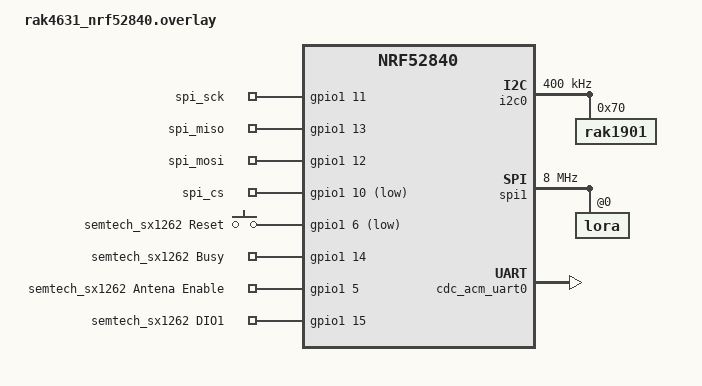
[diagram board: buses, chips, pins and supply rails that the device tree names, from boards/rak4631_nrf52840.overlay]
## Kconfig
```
#
# Copyright (c) 2023 Nordic Semiconductor ASA
#
# SPDX-License-Identifier: LicenseRef-Nordic-5-Clause
#
rsource "../../../sidewalk/samples/sid_end_device/Kconfig.defconfig"

config SIDEWALK_SPI_BUS
    default y
    imply SPI
    imply PM
    imply PM_DEVICE

config SID_END_DEVICE_TX_THREAD_STACK_SIZE
    int
    default 4096

config SID_END_DEVICE_RX_THREAD_STACK_SIZE
    int
    default 4096

config SID_END_DEVICE_NOTIFY_DATA_PERIOD_MS
    int "Notify period of sensor monitoring demo app"
    default 60000

config SID_END_DEVICE_TX_THREAD_PRIORITY
    int
    default 13

config SID_END_DEVICE_RX_THREAD_PRIORITY
    int
    default 14

config SID_END_DEVICE_TX_THREAD_QUEUE_SIZE
    int
    default 10

config SID_END_DEVICE_RX_THREAD_QUEUE_SIZE
    int
    default 4

config RAK1901_MEASUREMENT_INTERVAL
    int
    default 60000

source "Kconfig.zephyr"
```

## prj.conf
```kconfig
#
# Copyright (c) 2023 Nordic Semiconductor ASA
#
# SPDX-License-Identifier: LicenseRef-Nordic-5-Clause
#

CONFIG_STATIC_INIT_GNU=y
# Config Peripherals
CONFIG_GPIO=y
CONFIG_I2C=y
CONFIG_PWM=y
CONFIG_FLASH=y
CONFIG_SPI=y
CONFIG_NRFX_SPI1=y
CONFIG_NRFX_SPI2=y
CONFIG_FLASH_PAGE_LAYOUT=y
CONFIG_NVS=y
CONFIG_NVS_LOG_LEVEL_DBG=n
CONFIG_MPU_ALLOW_FLASH_WRITE=y

# Sidewalk
CONFIG_SIDEWALK=y
CONFIG_SMF=y
CONFIG_SIDEWALK_DFU=n
CONFIG_SIDEWALK_THREAD_PRIORITY=10
CONFIG_SIDEWALK_NRFX_SPI1=y

# Logs
CONFIG_SIDEWALK_LOG_LEVEL_INF=y

# Buttons and LEDs
CONFIG_DK_LIBRARY=y

# Bluetooth
CONFIG_BT_DEVICE_NAME="Sid demo"

# Debug
CONFIG_RESET_ON_FATAL_ERROR=n

# Shell and USB CDC console
CONFIG_USB_DEVICE_STACK=y
CONFIG_USB_DEVICE_VID=0x2FE9
CONFIG_USB_DEVICE_PRODUCT="RAK_SID"
CONFIG_USB_CDC_ACM_LOG_LEVEL_OFF=y
CONFIG_UART_LINE_CTRL=y
CONFIG_USB_CDC_ACM_RINGBUF_SIZE=512
CONFIG_SHELL_BACKEND_SERIAL_CHECK_DTR=y
CONFIG_REBOOT=y
CONFIG_SHELL=y
CONFIG_SHELL_LOG_BACKEND=y
CONFIG_SHELL_BACKEND_SERIAL_CHECK_DTR=y
CONFIG_USB_CDC_ACM_LOG_LEVEL_OFF=y


# Power Management
CONFIG_PM_DEVICE=y

# DEBUG LOG
CONFIG_SIDEWALK_LOG_LEVEL_DBG=y
#CONFIG_SIDEWALK_CRYPTO_LOG_LEVEL_DBG=y
#CONFIG_SPI_BUS_LOG_LEVEL_DBG=y
#CONFIG_SPI_LOG_LEVEL_DBG=y
#CONFIG_LOG_DEFAULT_LEVEL=4

CONFIG_RAK1901=y
```

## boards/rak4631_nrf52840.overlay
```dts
/*
 * SPDX-License-Identifier: Apache-2.0
 */

/ {
	chosen {
		zephyr,console = &cdc_acm_uart0;
		zephyr,shell-uart = &cdc_acm_uart0;
	};
};

&i2c0 {
    compatible = "nordic,nrf-twim";
	clock-frequency = <I2C_BITRATE_FAST>;
	rak1901@70 {
        compatible = "rak1901";
		reg = <0x70>;
	};
};

&spi1 {
    compatible = "nordic,nrf-spi";
    status = "okay";
};
&spi2 {
	compatible = "nordic,nrf-spi";
	status = "disabled";
};

&spi3 {
	status = "disabled";
};

&zephyr_udc0 {
	cdc_acm_uart0: cdc_acm_uart0 {
		compatible = "zephyr,cdc-acm-uart";
	};
};

sid_semtech: &spi1 {
	compatible = "nordic,nrf-spi";
	clock-frequency = <DT_FREQ_M(8)>;
	/delete-property/ cs-gpios;

	lora: lora@0 {
	    status = "okay";
	};
};

/{
	nrfx_spi_gpios{
		compatible = "gpio-keys";
		nrfx_spi_sck: sck {
			gpios = <&gpio1 11 GPIO_ACTIVE_HIGH>;
			label = "spi_sck";
		};
		nrfx_spi_miso: miso {
			gpios = <&gpio1 13 GPIO_ACTIVE_HIGH>;
			label = "spi_miso";
		};
		nrfx_spi_mosi: mosi {
			gpios = <&gpio1 12 GPIO_ACTIVE_HIGH>;
			label = "spi_mosi";
		};
		nrfx_spi_cs: cs {
			gpios = <&gpio1 10 GPIO_ACTIVE_LOW>;
			label = "spi_cs";
		};
	};

	semtech_sx1262_gpios{
		compatible = "gpio-keys";
		semtech_sx1262_reset_gpios: reset {
			gpios = <&gpio1 6 (GPIO_ACTIVE_LOW|GPIO_PULL_UP)>;
			label = "semtech_sx1262 Reset";
		};
		semtech_sx1262_busy_gpios: busy {
			gpios = <&gpio1 14 GPIO_ACTIVE_HIGH>;
			label = "semtech_sx1262 Busy";
		};
		semtech_sx1262_antenna_enable_gpios: antena_enable {
			gpios = <&gpio1 5 GPIO_ACTIVE_HIGH>;
			label = "semtech_sx1262 Antena Enable";
		};
		semtech_sx1262_dio1_gpios: dio1 {
			gpios = <&gpio1 15 (GPIO_ACTIVE_HIGH|GPIO_PULL_DOWN)>;
			label = "semtech_sx1262 DIO1";
		};
	};
};
```

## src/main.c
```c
/*
 * Copyright (c) 2023 Nordic Semiconductor ASA
 *
 * SPDX-License-Identifier: LicenseRef-Nordic-5-Clause
 */
#include <app.h>
#include <sidewalk.h>
#include <zephyr/usb/usb_device.h>
#include <zephyr/drivers/uart.h>
#include <zephyr/drivers/sensor.h>
#include <zephyr/drivers/gpio.h>
#include <sidewalk_version.h>

#include <zephyr/logging/log.h>
LOG_MODULE_REGISTER(sm_main, CONFIG_SIDEWALK_LOG_LEVEL);

#define NOTIFY_TIMER_DURATION_MS (500)
#define APP_RX_PAYLOAD_MAX_SIZE 255


static void configure_uicr(void)
{
    if ((NRF_UICR->REGOUT0 & UICR_REGOUT0_VOUT_Msk) !=
        (UICR_REGOUT0_VOUT_3V3 << UICR_REGOUT0_VOUT_Pos))
    {
        NRF_NVMC->CONFIG = NVMC_CONFIG_WEN_Wen;
        while (NRF_NVMC->READY == NVMC_READY_READY_Busy){}

        NRF_UICR->REGOUT0 = (NRF_UICR->REGOUT0 & ~((uint32_t)UICR_REGOUT0_VOUT_Msk)) |
                            (UICR_REGOUT0_VOUT_3V3 << UICR_REGOUT0_VOUT_Pos);

        NRF_NVMC->CONFIG = NVMC_CONFIG_WEN_Ren;
        while (NRF_NVMC->READY == NVMC_READY_READY_Busy){}

        LOG_INF("REGOUT0 is updated!");

        // System reset is needed to update UICR registers.
        NVIC_SystemReset();
    }
}

/*static int init_leds()
{
	int err = sm_leds_init();
	if (err) {
		LOG_ERR("Failed to initialize LEDs (err: %d)", err);
		return err;
	}
	return err;
}*/

int main(void)
{
    configure_uicr();
	int rc;
	if (IS_ENABLED(CONFIG_USB_DEVICE_STACK)) {
		rc = usb_enable(NULL);
		if (rc) {
			LOG_ERR("Failed to enable USB");
		}
	}

	PRINT_SIDEWALK_VERSION();

/*	if ((nrf_power_mainregstatus_get(NRF_POWER) ==
	     NRF_POWER_MAINREGSTATUS_HIGH))
		LOG_INF("Main regulator status: High voltage mode. Voltage supplied on VDDH.");

	if ((NRF_UICR->REGOUT0 & UICR_REGOUT0_VOUT_Msk) ==
	     (UICR_REGOUT0_VOUT_DEFAULT << UICR_REGOUT0_VOUT_Pos))
		LOG_INF("Output voltage from REG0 regulator stage: 1.8V");

	if ((NRF_UICR->REGOUT0 & UICR_REGOUT0_VOUT_Msk) ==
	     (UICR_REGOUT0_VOUT_3V0 << UICR_REGOUT0_VOUT_Pos))
		LOG_INF("Output voltage from REG0 regulator stage: 3V");*/

/*	rc = init_leds();
	if (rc) {
		LOG_INF("Buttons or LEDs faild to initialize.");
		return rc;
	}

	rc = application_pal_init();
	if (rc) {
		LOG_INF("Failed to initialize PAL layer.");
		return rc;
	}

	LOG_INF("Sidewalk demo started!");

    my_tasks_init();
	sm_task_start();*/
    app_start();

	return 0;
}
```

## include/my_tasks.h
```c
#ifndef MY_TASKS_H__
#define MY_TASKS_H__

#include "stdint.h"

/**
 * @brief This function is used to initialized RAK sidewalk task to 
 * read sensor values at specific time interval.
 */
void my_tasks_init(void);

#endif
```

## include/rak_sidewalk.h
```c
#ifndef __RAK_SIDEWALK_H
#define	__RAK_SIDEWALK_H

#include "stdint.h"

/** @brief SenoSpace payload structure. */
#pragma pack(push, 1)
typedef struct 
{
    uint8_t  payload_type;
    float  temp;
    float  hum;
} sidewalk_payload_t; //max 9 bytes
#pragma pack(pop)

/**
 * @brief This function is used to read SenoSpace payload.
 *
 * @return sidewalk_payload_t  SenoSpace payload.
 */
sidewalk_payload_t rak_sidewalk_get_payload(void);

#endif
```

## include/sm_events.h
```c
/*
 * Copyright (c) 2023 Nordic Semiconductor ASA
 *
 * SPDX-License-Identifier: LicenseRef-Nordic-5-Clause
 */

#ifndef SM_EVENTS_H
#define SM_EVENTS_H

enum event_type {
	EVENT_TYPE_SIDEWALK,
	EVENT_FACTORY_RESET,
	EVENT_BUTTON_PRESS,
	EVENT_CONNECT_LINK_TYPE_1,
	EVENT_SET_DEVICE_PROFILE_LINK_TYPE_2,
	EVENT_NOTIFICATION_TIMER_FIRED,
	EVENT_BUTTON_PRESS_TIMER_FIRED,
    EVENT_STOP_LINK,
    EVENT_START_LINK,
};

enum btn_event {
	BTN_EVENT_KEY_0 = 0,
	BTN_EVENT_KEY_1,
	BTN_EVENT_KEY_2,
	BTN_EVENT_KEY_3,
	BTN_EVENT_RESET_KEY,
};

#endif /* SM_EVENTS_H */
```

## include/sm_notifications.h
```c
/*
 * Copyright (c) 2023 Nordic Semiconductor ASA
 *
 * SPDX-License-Identifier: LicenseRef-Nordic-5-Clause
 */

#ifndef SM_NOTIFICATIONS_H
#define SM_NOTIFICATIONS_H

#include <sm_task.h>
#include "rak_sidewalk.h"
/**
 * @brief Send capability notification.
 *
 * @param app_context application context.
 */
void sm_notify_capability(app_context_t *app_context);

/**
 * @brief Send notification from sensors.
 *
 * @param app_context application context.
 * @param button_pressed flag inform is notification comes from button event.
 */
void sm_notify_sensor_data(app_context_t *app_context, bool button_pressed, sidewalk_payload_t sidewalk_payload);

/**
 * @brief Check button press notification.
 *
 * @param app_context application context.
 */
void sm_check_button_press_notify(app_context_t *app_context);

#endif /* SM_NOTIFICATIONS_H */
```

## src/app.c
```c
/*
 * Copyright (c) 2024 Nordic Semiconductor ASA
 *
 * SPDX-License-Identifier: LicenseRef-Nordic-5-Clause
 */

#include <sidewalk.h>
#include <app_tx.h>
#include <app_rx.h>
#include <app_buttons.h>
#include <app_leds.h>
#include <app_ble_config.h>
#include <sidewalk_dfu/nordic_dfu.h>
#include <app_subGHz_config.h>
#include <sid_hal_reset_ifc.h>
#include <sid_hal_memory_ifc.h>
#include <buttons.h>
#include <zephyr/kernel.h>
#include <zephyr/smf.h>
#include <zephyr/logging/log.h>
#include <sid_demo_parser.h>
#include <rak_sidewalk.h>
#include <json_printer/sidTypes2str.h>
#ifdef CONFIG_SIDEWALK_FILE_TRANSFER_DFU
#include <sbdt/dfu_file_transfer.h>
#endif

#include <bt_app_callbacks.h>

LOG_MODULE_REGISTER(app, CONFIG_SIDEWALK_LOG_LEVEL);

#define PARAM_UNUSED (0U)
#define NOTIFY_TIMER_DURATION_MS (500)

K_THREAD_STACK_DEFINE(app_tx_stack, CONFIG_SID_END_DEVICE_TX_THREAD_STACK_SIZE);
K_THREAD_STACK_DEFINE(app_rx_stack, CONFIG_SID_END_DEVICE_RX_THREAD_STACK_SIZE);

static struct k_thread app_main;
static struct k_thread app_rx;

static void notify_timer_cb(struct k_timer *timer_id);
K_TIMER_DEFINE(notify_timer, notify_timer_cb, NULL);

static void notify_timer_cb(struct k_timer *timer_id)
{
	ARG_UNUSED(timer_id);
	app_tx_event_send(APP_EVENT_NOTIFY_SENSOR);
}

static sidewalk_ctx_t sid_ctx;

static void on_sidewalk_event(bool in_isr, void *context)
{
	int err = sidewalk_event_send(sidewalk_event_process, NULL, NULL);
	if (err) {
		LOG_ERR("Send event err %d", err);
	};
}

static void on_sidewalk_msg_received(const struct sid_msg_desc *msg_desc, const struct sid_msg *msg,
				     void *context)
{
	LOG_DBG("Received message(type: %d, link_mode: %d, id: %u size %u)", (int)msg_desc->type,
		(int)msg_desc->link_mode, msg_desc->id, msg->size);
	LOG_HEXDUMP_INF((uint8_t *)msg->data, msg->size, "Received message: ");

	if (msg_desc->type == SID_MSG_TYPE_RESPONSE && msg_desc->msg_desc_attr.rx_attr.is_msg_ack) {
		LOG_DBG("Received Ack for msg id %d", msg_desc->id);
	} else {
		struct app_rx_msg rx_msg = { 0 };
		rx_msg.pld_size = MIN(msg->size, APP_RX_PAYLOAD_MAX_SIZE);
		memcpy(rx_msg.rx_payload, msg->data, rx_msg.pld_size);
		int err = app_rx_msg_received(&rx_msg);
		if (err) {
			LOG_ERR("Rx msg err %d", err);
		}
	}
}

static void on_sidewalk_msg_sent(const struct sid_msg_desc *msg_desc, void *context)
{
	LOG_DBG("sent message(type: %d, id: %u)", (int)msg_desc->type, msg_desc->id);
}

static void on_sidewalk_send_error(sid_error_t error, const struct sid_msg_desc *msg_desc,
				   void *context)
{
	LOG_ERR("Send message err %d (%s)", (int)error, SID_ERROR_T_STR(error));
	LOG_DBG("Failed to send message(type: %d, id: %u)", (int)msg_desc->type, msg_desc->id);
}

static void on_sidewalk_factory_reset(void *context)
{
	ARG_UNUSED(context);

	LOG_INF("Factory reset notification received from sid api");
	if (sid_hal_reset(SID_HAL_RESET_NORMAL)) {
		LOG_WRN("Cannot reboot");
	}
}

static void on_sidewalk_status_changed(const struct sid_status *status, void *context)
{
	struct sid_status *new_status = sid_hal_malloc(sizeof(struct sid_status));
	if (!new_status) {
		LOG_ERR("Failed to allocate memory for new status value");
	} else {
		memcpy(new_status, status, sizeof(struct sid_status));
	}
	sidewalk_event_send(sidewalk_event_new_status, new_status, sid_hal_free);

	int err = 0;
	switch (status->state) {
	case SID_STATE_READY:
	case SID_STATE_SECURE_CHANNEL_READY:
		LOG_INF("Status changed: ready");
		break;
	case SID_STATE_NOT_READY:
		LOG_INF("Status changed: not ready");
		break;
	case SID_STATE_ERROR:
		LOG_INF("Status not changed: error");
		break;
	}

	app_tx_last_link_mask_set(status->detail.link_status_mask);

	if (SID_STATUS_TIME_SYNCED == status->detail.time_sync_status) {
		err = app_tx_event_send(APP_EVENT_TIME_SYNC_SUCCESS);
	} else {
		err = app_tx_event_send(APP_EVENT_TIME_SYNC_FAIL);
	}

	if (err) {
		LOG_ERR("Send event err %d", err);
	}

	LOG_INF("Device %sregistered, Time Sync %s, Link status: {BLE: %s, FSK: %s, LoRa: %s}",
		(SID_STATUS_REGISTERED == status->detail.registration_status) ? "Is " : "Un",
		(SID_STATUS_TIME_SYNCED == status->detail.time_sync_status) ? "Success" : "Fail",
		(status->detail.link_status_mask & SID_LINK_TYPE_1) ? "Up" : "Down",
		(status->detail.link_status_mask & SID_LINK_TYPE_2) ? "Up" : "Down",
		(status->detail.link_status_mask & SID_LINK_TYPE_3) ? "Up" : "Down");

	for (int i = 0; i < SID_LINK_TYPE_MAX_IDX; i++) {
		enum sid_link_mode mode =
			(enum sid_link_mode)status->detail.supported_link_modes[i];

		if (mode) {
			LOG_INF("Link mode on %s = {Cloud: %s, Mobile: %s}",
				(SID_LINK_TYPE_1_IDX == i) ? "BLE" :
				(SID_LINK_TYPE_2_IDX == i) ? "FSK" :
				(SID_LINK_TYPE_3_IDX == i) ? "LoRa" :
							     "unknow",
				(mode & SID_LINK_MODE_CLOUD) ? "True" : "False",
				(mode & SID_LINK_MODE_MOBILE) ? "True" : "False");
		}
	}
}


void app_start_tasks(void)
{
	(void)k_thread_create(&app_main, app_tx_stack, K_THREAD_STACK_SIZEOF(app_tx_stack),
			      app_tx_task, NULL, NULL, NULL,
			      CONFIG_SID_END_DEVICE_TX_THREAD_PRIORITY, 0, K_NO_WAIT);

	(void)k_thread_create(&app_rx, app_rx_stack, K_THREAD_STACK_SIZEOF(app_rx_stack),
			      app_rx_task, NULL, NULL, NULL,
			      CONFIG_SID_END_DEVICE_RX_THREAD_PRIORITY, 0, K_NO_WAIT);

	k_thread_name_set(&app_main, "app_main");
	k_thread_name_set(&app_rx, "app_rx");
}

static bool gatt_authorize(struct bt_conn *conn, const struct bt_gatt_attr *attr)
{
	struct bt_conn_info cinfo = {};
	int ret = bt_conn_get_info(conn, &cinfo);
	if (ret != 0) {
		LOG_ERR("Failed to get id of connection err %d", ret);
		return false;
	}

	if (cinfo.id == BT_ID_SIDEWALK) {
		if (sid_ble_bt_attr_is_SMP(attr)) {
			return false;
		}
	}

#if defined(CONFIG_SIDEWALK_DFU)
	if (cinfo.id == BT_ID_SMP_DFU) {
		if (sid_ble_bt_attr_is_SIDEWALK(attr)) {
			return false;
		}
	}
#endif //defined(CONFIG_SIDEWALK_DFU)
	return true;
}

static const struct bt_gatt_authorization_cb gatt_authorization_callbacks = {
	.read_authorize = gatt_authorize,
	.write_authorize = gatt_authorize,
};

void app_start(void)
{

	if (app_led_init()) {
		LOG_ERR("Cannot init leds");
	}

	static struct sid_event_callbacks event_callbacks = {
		.context = &sid_ctx,
		.on_event = on_sidewalk_event,
		.on_msg_received = on_sidewalk_msg_received,
		.on_msg_sent = on_sidewalk_msg_sent,
		.on_send_error = on_sidewalk_send_error,
		.on_status_changed = on_sidewalk_status_changed,
		.on_factory_reset = on_sidewalk_factory_reset,
	};

	struct sid_end_device_characteristics dev_ch = {
		.type = SID_END_DEVICE_TYPE_STATIC,
		.power_type = SID_END_DEVICE_POWERED_BY_BATTERY_AND_LINE_POWER,
		.qualification_id = 0x0001,
	};

	sid_ctx.config = (struct sid_config){
		.link_mask = 0,
		.dev_ch = dev_ch,
		.callbacks = &event_callbacks,
		.link_config = app_get_ble_config(),
		.sub_ghz_link_config = app_get_sub_ghz_config(),
	};

	int err = bt_gatt_authorization_cb_register(&gatt_authorization_callbacks);
	if (err) {
		LOG_ERR("Registering GATT authorization callbacks failed (err %d)", err);
		return;
	}

	app_start_tasks();
	sidewalk_start(&sid_ctx);
	sidewalk_event_send(sidewalk_event_platform_init, NULL, NULL);
	sidewalk_event_send(sidewalk_event_autostart, NULL, NULL);

	k_timer_start(&notify_timer, K_MSEC(NOTIFY_TIMER_DURATION_MS),
		      K_MSEC(CONFIG_SID_END_DEVICE_NOTIFY_DATA_PERIOD_MS));
}
```

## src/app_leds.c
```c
/*
 * Copyright (c) 2024 Nordic Semiconductor ASA
 *
 * SPDX-License-Identifier: LicenseRef-Nordic-5-Clause
 */

#include <app_leds.h>
#include <dk_buttons_and_leds.h>

static int leds_state;
static uint8_t led_id_arr[APP_LEDS_MAX];

void app_led_turn_on_all(void)
{
	dk_set_leds(DK_ALL_LEDS_MSK);
	leds_state = DK_ALL_LEDS_MSK;
}

void app_led_turn_off_all(void)
{
	dk_set_leds(DK_NO_LEDS_MSK);
	leds_state = DK_NO_LEDS_MSK;
}

void app_led_turn_on(enum leds_id_t id)
{
	if (id < LED_ID_LAST) {
		dk_set_led_on(id);
		WRITE_BIT(leds_state, id, true);
	}
}

void app_led_turn_off(enum leds_id_t id)
{
	if (id < LED_ID_LAST) {
		dk_set_led_off(id);
		WRITE_BIT(leds_state, id, false);
	}
}

bool app_led_is_on(enum leds_id_t id)
{
	if (id < LED_ID_LAST) {
		return (leds_state & BIT(id));
	}
	return false;
}

uint8_t *app_led_id_array_get()
{
	return led_id_arr;
}

int app_led_init()
{
	for (size_t i = 0; i < APP_LEDS_MAX; i++) {
		led_id_arr[i] = i;
	}
	return dk_leds_init();
}
```

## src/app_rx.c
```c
/*
 * Copyright (c) 2024 Nordic Semiconductor ASA
 *
 * SPDX-License-Identifier: LicenseRef-Nordic-5-Clause
 */

#include <app_rx.h>
#include <app_tx.h>
#include <app_buttons.h>
#include <app_leds.h>
#include <sid_demo_parser.h>
#include <zephyr/kernel.h>
#include <zephyr/logging/log.h>

LOG_MODULE_REGISTER(app_rx, CONFIG_SIDEWALK_LOG_LEVEL);

#define ACTION_RESP_BTN_ALL (0xFF)
#define ACTION_REQ_LED_ALL (0xFF)

K_MSGQ_DEFINE(rx_msgq, sizeof(struct app_rx_msg), CONFIG_SID_END_DEVICE_RX_THREAD_QUEUE_SIZE, 4);

static void app_rx_led_req_process(struct sid_demo_msg *msg)
{
	// Deserialize message
	uint8_t led_id_arr[APP_LEDS_MAX] = { 0 };
	struct sid_demo_led_action_req led_req = { 0 };
	led_req.led_id_arr = led_id_arr;

	static struct sid_parse_state state = { 0 };
	sid_parse_state_init(&state, msg->payload, msg->payload_size);
	sid_demo_app_action_req_deserialize(&state, &led_req);
	if (state.ret_code != SID_ERROR_NONE) {
		LOG_ERR("LED request de-serialize failed %d", state.ret_code);
		return;
	}

	// Process action request
	LOG_INF("LED request received");
	if (led_req.num_leds == ACTION_REQ_LED_ALL) {
		led_req.led_id_arr = app_led_id_array_get();
		led_req.num_leds = APP_LEDS_MAX;
	}

	if (led_req.action_req == SID_DEMO_ACTION_LED_ON) {
		for (uint8_t i = 0; i < led_req.num_leds; i++) {
			app_led_turn_on((enum leds_id_t)led_req.led_id_arr[i]);
		}
		app_tx_event_send(APP_EVENT_RESP_LED_ON);
	} else if (led_req.action_req == SID_DEMO_ACTION_LED_OFF) {
		for (uint8_t i = 0; i < led_req.num_leds; i++) {
			app_led_turn_off((enum leds_id_t)led_req.led_id_arr[i]);
		}
		app_tx_event_send(APP_EVENT_RESP_LED_OFF);
	} else {
		LOG_ERR("LED request invalid action %d", led_req.action_req);
	}
}

int app_rx_msg_received(struct app_rx_msg *msg)
{
	return k_msgq_put(&rx_msgq, msg, K_NO_WAIT);
}

void app_rx_task(void *dummy1, void *dummy2, void *dummy3)
{
	ARG_UNUSED(dummy1);
	ARG_UNUSED(dummy2);
	ARG_UNUSED(dummy3);

	while (1) {
		struct app_rx_msg rx_msg = { 0 };
		int err = k_msgq_get(&rx_msgq, &rx_msg, K_FOREVER);
		if (!err) {
			// Deserialize message
			static uint8_t msg_payload[APP_RX_PAYLOAD_MAX_SIZE] = { 0 };
			struct sid_demo_msg msg = { 0 };
			msg.payload = msg_payload;
			struct sid_demo_msg_desc msg_desc = { 0 };

			static struct sid_parse_state state = { 0 };
			sid_parse_state_init(&state, rx_msg.rx_payload, rx_msg.pld_size);
			sid_demo_app_msg_deserialize(&state, &msg_desc, &msg);
			if (!state.ret_code) {
				LOG_DBG("Opc %d, class %d cmd %d status indicator %d status_code %d paylaod size %d",
					msg_desc.opc, msg_desc.cmd_class, msg_desc.cmd_id,
					msg_desc.status_hdr_ind, msg_desc.status_code,
					msg.payload_size);
			} else {
				LOG_ERR("Rx msg de-serialize failed %d", state.ret_code);
				continue;
			}

			// Process demo app message
			if (msg_desc.cmd_class != SID_DEMO_APP_CLASS) {
				LOG_ERR("Rx msg cmd class %d not supported", msg_desc.cmd_class);
				continue;
			}

			switch (msg_desc.opc) {
			case SID_DEMO_MSG_TYPE_RESP:
				switch (msg_desc.cmd_id) {
				case SID_DEMO_APP_CLASS_CMD_CAP_DISCOVERY_ID:
					if (msg_desc.status_hdr_ind &&
					    msg_desc.status_code == SID_ERROR_NONE &&
					    msg.payload_size == 0) {
						LOG_INF("Capability response received");
						app_tx_event_send(APP_EVENT_CAPABILITY_SUCCESS);
					} else {
						LOG_ERR("Capability failed (code %d)",
							msg_desc.status_code);
					}
					break;
				case SID_DEMO_APP_CLASS_CMD_ACTION:
					break;
				default:
					LOG_ERR("Rx msg cmd id %d not supported", msg_desc.cmd_id);
					break;
				}
				break;
			case SID_DEMO_MSG_TYPE_WRITE:
				switch (msg_desc.cmd_id) {
				case SID_DEMO_APP_CLASS_CMD_ACTION:
					app_rx_led_req_process(&msg);
					break;
				case SID_DEMO_APP_CLASS_CMD_CAP_DISCOVERY_ID:
				default:
					LOG_ERR("Rx msg cmd id %d not supported", msg_desc.cmd_id);
					break;
				}
				break;
			case SID_DEMO_MSG_TYPE_READ:
			case SID_DEMO_MSG_TYPE_NOTIFY:
			default:
				LOG_ERR("Rx msg op code %d not supported", msg_desc.opc);
				break;
			}
		} else {
			LOG_ERR("App RX msgq err %d", err);
		}
	}

	LOG_ERR("App RX thread ends. You should never see this message.");
}
```

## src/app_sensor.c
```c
/*
 * Copyright (c) 2024 Nordic Semiconductor ASA
 *
 * SPDX-License-Identifier: LicenseRef-Nordic-5-Clause
 */
#include <app_sensor.h>
#include <errno.h>
#include <zephyr/drivers/sensor.h>
#include <zephyr/device.h>

#ifdef CONFIG_BOARD_THINGY53_NRF5340_CPUAPP
#define TEMP_CHANNEL SENSOR_CHAN_AMBIENT_TEMP
static const struct device *temp_dev = DEVICE_DT_GET_ONE(bosch_bme680);
#elif CONFIG_TEMP_NRF5
#define TEMP_CHANNEL SENSOR_CHAN_DIE_TEMP
static const struct device *temp_dev = DEVICE_DT_GET_ONE(nordic_nrf_temp);
#else
#define TEMP_CHANNEL SENSOR_CHAN_ALL
static const struct device *temp_dev;
#endif

int app_sensor_temperature_get(int16_t *temp)
{
	if (!temp) {
		return -EINVAL;
	};

	if (!device_is_ready(temp_dev)) {
		return -EIO;
	}

	int err = sensor_sample_fetch(temp_dev);
	if (err) {
		return -EIO;
	}

	struct sensor_value sensor = { 0, 0 };
	err = sensor_channel_get(temp_dev, TEMP_CHANNEL, &sensor);
	if (err) {
		return -EFAULT;
	}

	*temp = (int16_t)sensor.val1;
	return 0;
}
```

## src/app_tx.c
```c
/*
 * Copyright (c) 2024 Nordic Semiconductor ASA
 *
 * SPDX-License-Identifier: LicenseRef-Nordic-5-Clause
 */

#include <app_tx.h>
#include <app_buttons.h>
#include <app_leds.h>
#include <app_sensor.h>
#include <sidewalk.h>
#include <sid_demo_parser.h>
#include <sid_pal_uptime_ifc.h>
#include <sid_hal_memory_ifc.h>
#include <zephyr/kernel.h>
#include <zephyr/smf.h>
#include <zephyr/logging/log.h>
#include <json_printer/sidTypes2str.h>
#include <rak_sidewalk.h>

LOG_MODULE_REGISTER(app_tx, CONFIG_SIDEWALK_LOG_LEVEL);

#define MSG_PAYLOAD_SIZE_MAX (32)
#define DEMO_MSG_PAYLOAD_MAX_SIXE (255)
#define APP_SID_MSG_TTL_MAX (60)
#define APP_SID_MSG_RETRIES_MAX (3)
#define APP_NOTIFY_BUTTON_PERIOD_MS (1000)
#define APP_DUMMY_SENSOR_DATA (20)

typedef struct app_sm_s {
	struct smf_ctx ctx;
	struct k_msgq msgq;
	app_event_t event;
} app_sm_t;

static app_sm_t app_sm;
static uint32_t last_link_mask;

enum state {
	STATE_APP_INIT,
	STATE_APP_NOTIFY_CAPABILITY,
	STATE_APP_NOTIFY_DATA,
};

static void state_init(void *o);
static void state_notify_capability(void *o);
static void state_notify_data(void *o);

static const struct smf_state app_states[] = {
	[STATE_APP_INIT] = SMF_CREATE_STATE(NULL, state_init, NULL, NULL, NULL),
	[STATE_APP_NOTIFY_CAPABILITY] =
		SMF_CREATE_STATE(NULL, state_notify_capability, NULL, NULL, NULL),
	[STATE_APP_NOTIFY_DATA] = SMF_CREATE_STATE(NULL, state_notify_data, NULL, NULL, NULL),
};

static uint8_t __aligned(4)
	app_msgq_buff[CONFIG_SID_END_DEVICE_TX_THREAD_QUEUE_SIZE * sizeof(app_event_t)];


static uint32_t time_in_sec_get(void)
{
	struct sid_timespec curr_time = { 0 };
	sid_error_t e = sid_pal_uptime_now(&curr_time);
	if (e) {
		LOG_INF("Uptime get failed %d (%s)", e, SID_ERROR_T_STR(e));
	}

	return curr_time.tv_sec;
}

static uint32_t last_link_mask_get(void)
{
	return last_link_mask;
}

static void free_sid_msg_event_ctx(void *ctx)
{
	sidewalk_msg_t *sid_msg = (sidewalk_msg_t *)ctx;
	if (sid_msg == NULL) {
		return;
	}
	if (sid_msg->msg.data) {
		sid_hal_free(sid_msg->msg.data);
	}
	sid_hal_free(sid_msg);
}

static int app_tx_demo_msg_send(struct sid_parse_state *state, uint8_t *buffer,
				struct sid_demo_msg_desc *demo_desc, struct sid_msg_desc *sid_desc)
{
	// Serialize demo message
	struct sid_demo_msg demo_msg = { .payload = buffer, .payload_size = state->offset };
	uint8_t msg_buffer[DEMO_MSG_PAYLOAD_MAX_SIXE] = { 0 };
	sid_parse_state_init(state, msg_buffer, sizeof(msg_buffer));
	sid_demo_app_msg_serialize(state, demo_desc, &demo_msg);
	if (state->ret_code != SID_ERROR_NONE) {
		LOG_DBG("Demo msg serialize failed -%d (%s)", state->ret_code,
			SID_ERROR_T_STR(state->ret_code));
		return -EINVAL;
	}

	// Send sidewalk message
	sidewalk_msg_t *sid_msg = sid_hal_malloc(sizeof(sidewalk_msg_t));
	if (!sid_msg) {
		LOG_ERR("Failed to alloc memory for message context");
		return -ENOMEM;
	}
	memset(sid_msg, 0x0, sizeof(*sid_msg));
	sid_msg->msg.size = state->offset;
	sid_msg->msg.data = sid_hal_malloc(sid_msg->msg.size);
	if (!sid_msg->msg.data) {
		sid_hal_free(sid_msg);
		LOG_ERR("Failed to allocate memory for message data");
		return -ENOMEM;
	}
	memcpy(sid_msg->msg.data, msg_buffer, sid_msg->msg.size);
	memcpy(&sid_msg->desc, sid_desc, sizeof(struct sid_msg_desc));

	int err = sidewalk_event_send(sidewalk_event_send_msg, sid_msg, free_sid_msg_event_ctx);
	if (err) {
		free_sid_msg_event_ctx(sid_msg);
		LOG_ERR("Event send err %d", err);
		return -EIO;
	};

	return 0;
}

static int app_tx_response_send(struct sid_demo_action_resp *resp)
{
	// Prepare message
	struct sid_demo_msg_desc resp_desc = {
		.status_hdr_ind = true,
		.opc = SID_DEMO_MSG_TYPE_RESP,
		.cmd_class = SID_DEMO_APP_CLASS,
		.cmd_id = SID_DEMO_APP_CLASS_CMD_ACTION,
		.status_code = SID_ERROR_NONE,
	};

	struct sid_msg_desc resp_sid_desc = { .link_type = last_link_mask_get(),
					      .type = SID_MSG_TYPE_NOTIFY,
					      .link_mode = SID_LINK_MODE_CLOUD,
					      .msg_desc_attr = {
						      .tx_attr = {
							      .ttl_in_seconds = APP_SID_MSG_TTL_MAX,
							      .num_retries =
								      APP_SID_MSG_RETRIES_MAX,
							      .request_ack = true,
						      } } };

	// Serialize and send
	struct sid_parse_state state = { 0 };
	uint8_t msg_buffer[MSG_PAYLOAD_SIZE_MAX] = { 0 };
	sid_parse_state_init(&state, msg_buffer, sizeof(msg_buffer));
	sid_demo_app_action_resp_serialize(&state, resp);
	if (state.ret_code != SID_ERROR_NONE) {
		LOG_DBG("Action response serialize failed -%d", state.ret_code);
		return -EINVAL;
	}

	return app_tx_demo_msg_send(&state, msg_buffer, &resp_desc, &resp_sid_desc);
}

static void state_init(void *o)
{
	app_sm_t *sm = (app_sm_t *)o;

	switch (sm->event) {
	case APP_EVENT_TIME_SYNC_SUCCESS:
		smf_set_state(SMF_CTX(sm), &app_states[STATE_APP_NOTIFY_CAPABILITY]);
		break;
	case APP_EVENT_CAPABILITY_SUCCESS:
	case APP_EVENT_TIME_SYNC_FAIL:
	case APP_EVENT_NOTIFY_BUTTON:
	case APP_EVENT_NOTIFY_SENSOR:
	case APP_EVENT_RESP_LED_ON:
	case APP_EVENT_RESP_LED_OFF:
		break;
	}
}

static void state_notify_capability(void *o)
{
	app_sm_t *sm = (app_sm_t *)o;

	switch (sm->event) {
	case APP_EVENT_NOTIFY_SENSOR: {
		// Prepare message
		struct sid_demo_capability_discovery cap = {
			.link_type = last_link_mask_get(),
			.temp_sensor = SID_DEMO_TEMPERATURE_SENSOR_UNITS_CELSIUS,
			.num_buttons = APP_BUTTONS_MAX,
			.led_id_arr = app_led_id_array_get(),
			.num_leds = APP_LEDS_MAX,
		};

		struct sid_demo_msg_desc cap_desc = {
			.status_hdr_ind = false,
			.opc = SID_DEMO_MSG_TYPE_NOTIFY,
			.cmd_class = SID_DEMO_APP_CLASS,
			.cmd_id = SID_DEMO_APP_CLASS_CMD_CAP_DISCOVERY_ID,
		};

		struct sid_msg_desc cap_sid_desc = {
			.link_type = last_link_mask_get(),
			.type = SID_MSG_TYPE_NOTIFY,
			.link_mode = SID_LINK_MODE_CLOUD,
		};

		// Serialize and send
		struct sid_parse_state state = { 0 };
		uint8_t msg_buffer[MSG_PAYLOAD_SIZE_MAX] = { 0 };
		sid_parse_state_init(&state, msg_buffer, sizeof(msg_buffer));
		sid_demo_app_capability_discovery_notification_serialize(&state, &cap);
		if (state.ret_code != SID_ERROR_NONE) {
			LOG_ERR("Capability serialize failed %d", state.ret_code);
			break;
		}

		int err = app_tx_demo_msg_send(&state, msg_buffer, &cap_desc, &cap_sid_desc);
		if (err) {
			LOG_ERR("Capability send failed %d", err);
		}

		LOG_INF("Capability send");
	} break;
	case APP_EVENT_CAPABILITY_SUCCESS:
		smf_set_state(SMF_CTX(sm), &app_states[STATE_APP_NOTIFY_DATA]);
		break;
	case APP_EVENT_NOTIFY_BUTTON:
	case APP_EVENT_RESP_LED_ON:
	case APP_EVENT_RESP_LED_OFF:
		LOG_WRN("Operation not supported, waiting for capability response.");
		break;
	case APP_EVENT_TIME_SYNC_SUCCESS:
	case APP_EVENT_TIME_SYNC_FAIL:
		break;
	}
}

static void state_notify_data(void *o)
{
	app_sm_t *sm = (app_sm_t *)o;

	struct sid_parse_state state = { 0 };
	uint8_t msg_buffer[MSG_PAYLOAD_SIZE_MAX] = { 0 };
	int err = 0;

	switch (sm->event) {
	case APP_EVENT_NOTIFY_BUTTON: {
	} break;
	case APP_EVENT_NOTIFY_SENSOR: {
        LOG_INF("APP_EVENT_NOTIFY_SENSOR");
		// Read sensor data
		float temp = 0;
        sidewalk_payload_t payload = rak_sidewalk_get_payload();
        temp = payload.temp;
		/*err = app_sensor_temperature_get(&temp);
		if (err) {
			LOG_INF("Temperature get err %d, use dummy value: %d", err,
				APP_DUMMY_SENSOR_DATA);
			temp = APP_DUMMY_SENSOR_DATA;
		}*/

		// Prepare message
		struct sid_demo_action_notification notify_temp = {
			.gps_time_in_seconds = time_in_sec_get(),
			.link_type = last_link_mask_get(),
			.temp_sensor = SID_DEMO_TEMPERATURE_SENSOR_UNITS_CELSIUS,
			.temperature = temp,
			.button_action_notify.action_resp = SID_DEMO_ACTION_BUTTON_NOT_PRESSED,
		};

		struct sid_demo_msg_desc notify_desc = {
			.status_hdr_ind = false,
			.opc = SID_DEMO_MSG_TYPE_NOTIFY,
			.cmd_class = SID_DEMO_APP_CLASS,
			.cmd_id = SID_DEMO_APP_CLASS_CMD_ACTION,
		};

		struct sid_msg_desc notify_sid_desc = {
			.link_type = last_link_mask_get(),
			.type = SID_MSG_TYPE_NOTIFY,
			.link_mode = SID_LINK_MODE_CLOUD,
		};

		// Serialize and send
		sid_parse_state_init(&state, msg_buffer, sizeof(msg_buffer));
		sid_demo_app_action_notification_serialize(&state, &notify_temp);
		if (state.ret_code != SID_ERROR_NONE) {
			LOG_ERR("Notify sensor serialize failed -%d", state.ret_code);
			break;
		}

		err = app_tx_demo_msg_send(&state, msg_buffer, &notify_desc, &notify_sid_desc);
		if (err) {
			LOG_ERR("Notify sensor send failed %d", err);
		}

		LOG_INF("Notify sensor send");
	} break;
	case APP_EVENT_RESP_LED_ON: {
		// Read led status
		uint8_t led_on_arr[APP_BUTTONS_MAX] = { 0 };
		uint8_t num_leds_on = 0;
		for (uint8_t i = 0; i < APP_LEDS_MAX; i++) {
			bool is_on = app_led_is_on((enum leds_id_t)i);
			if (is_on) {
				led_on_arr[num_leds_on] = i;
				num_leds_on++;
			}
		}

		// Prepare message
		struct sid_demo_action_resp resp_led_on = {
			.gps_time_in_seconds = time_in_sec_get(),
			.resp_type = SID_DEMO_ACTION_TYPE_LED,
			.led_action_resp.action_resp = SID_DEMO_ACTION_LED_ON,
			.led_action_resp.num_leds = num_leds_on,
			.led_action_resp.led_id_arr = led_on_arr,
		};

		err = app_tx_response_send(&resp_led_on);
		if (err) {
			LOG_ERR("Response LED ON send failed %d", err);
		}

		LOG_INF("Response LED ON send");
	} break;
	case APP_EVENT_RESP_LED_OFF: {
		// Read led status
		uint8_t led_off_arr[APP_BUTTONS_MAX] = { 0 };
		uint8_t num_leds_off = 0;
		for (uint8_t i = 0; i < APP_LEDS_MAX; i++) {
			bool is_off = !app_led_is_on((enum leds_id_t)i);
			if (is_off) {
				led_off_arr[num_leds_off] = i;
				num_leds_off++;
			}
		}

		// Prepare response message
		struct sid_demo_action_resp resp_led_off = {
			.gps_time_in_seconds = time_in_sec_get(),
			.resp_type = SID_DEMO_ACTION_TYPE_LED,
			.led_action_resp.action_resp = SID_DEMO_ACTION_LED_OFF,
			.led_action_resp.num_leds = num_leds_off,
			.led_action_resp.led_id_arr = led_off_arr,
		};
		err = app_tx_response_send(&resp_led_off);
		if (err) {
			LOG_ERR("Response LED ON send failed %d", err);
		}

		LOG_INF("Response LED OFF send");
	} break;
	case APP_EVENT_TIME_SYNC_FAIL:
		smf_set_state(SMF_CTX(sm), &app_states[STATE_APP_NOTIFY_CAPABILITY]);
	case APP_EVENT_TIME_SYNC_SUCCESS:
	case APP_EVENT_CAPABILITY_SUCCESS:
		break;
	}
}

void app_tx_last_link_mask_set(uint32_t link_mask)
{
	if (link_mask) {
		last_link_mask = link_mask;
	}
}

int app_tx_event_send(app_event_t event)
{
	return k_msgq_put(&app_sm.msgq, (void *)&event, K_NO_WAIT);
}

void app_tx_task(void *dummy1, void *dummy2, void *dummy3)
{
	ARG_UNUSED(dummy1);
	ARG_UNUSED(dummy2);
	ARG_UNUSED(dummy3);

	k_msgq_init(&app_sm.msgq, (char *)app_msgq_buff, sizeof(app_event_t),
		    CONFIG_SID_END_DEVICE_TX_THREAD_QUEUE_SIZE);
	smf_set_initial(SMF_CTX(&app_sm), &app_states[STATE_APP_INIT]);

	while (1) {
		int err = k_msgq_get(&app_sm.msgq, &app_sm.event, K_FOREVER);
		if (!err) {
			if (smf_run_state(SMF_CTX(&app_sm))) {
				LOG_ERR("App TX state machine termination");
				break;
			}
		} else {
			LOG_ERR("App TX msgq err %d", err);
		}
	}

	LOG_ERR("App TX thread ends. You should never see this message.");
}
```

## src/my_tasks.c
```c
#include <zephyr/kernel.h>
#include <zephyr/drivers/gpio.h>

#include "my_tasks.h"
#include "rak_sidewalk.h"

#include <sm_task.h>

#define VERSION (8)

#define LOG_LEVEL CONFIG_LOG_DEFAULT_LEVEL
#include <zephyr/logging/log.h>
LOG_MODULE_REGISTER(my_tasks);

#define MEASUREMENT_INTERVAL    (60*1000) // Check sensor status at every 10 secons without

static struct k_timer timer_reading_sensor;

/* Thread configuration */
#define STACKSIZE 	8192

static struct k_thread reading_sensor_id;
K_THREAD_STACK_DEFINE(reading_sensor_stack, STACKSIZE);
/* ----- */

/* Semaphores and Mutexes */
static struct k_sem reading_sensor_sem;
/* ----- */

volatile bool is_button_status_changed = false;

static void reading_sensor_thread_handler(void *arg1, void *arg2, void *arg3)
{  
    while(1)
    {
        if(k_sem_take(&reading_sensor_sem, K_FOREVER /*K_MSEC(50)*/) == 0)
        {  
            sidewalk_payload_t payload = rak_sidewalk_get_payload();
            LOG_INF("temp: %f", payload.temp);
            LOG_INF("hum: %f", payload.hum);
            if (sm_app_state_get() == DEMO_APP_STATE_NOTIFY_SENSOR_DATA && sm_is_sidewalk_ready())
            {
                enum event_type event = EVENT_NOTIFICATION_TIMER_FIRED;
                sm_main_task_msg_q_write(event);
                LOG_INF("Send over sidewalk!");
            }
            else
            {
                LOG_INF("Sidewalk link is not ready!!!");
                LOG_INF("State: %d, Ready: %d", sm_app_state_get(), sm_is_sidewalk_ready());


            }

        }
    }    
}

static void timer_reading_sensor_expire(struct k_timer *timer)
{
	k_sem_give(&reading_sensor_sem);
}
static void timer_reading_sensor_stop(struct k_timer *timer)
{
	LOG_INF("Timer stopped.");
}

void my_tasks_init(void)
{
    k_sem_init(&reading_sensor_sem, 0, 1);
    (void)k_thread_create(&reading_sensor_id, reading_sensor_stack, K_THREAD_STACK_SIZEOF(reading_sensor_stack) , reading_sensor_thread_handler, NULL, NULL, NULL, K_PRIO_PREEMPT(4) , 0, K_NO_WAIT);
    k_thread_name_set(&reading_sensor_id, "reading_sensor_id");
    k_timer_init(&timer_reading_sensor, timer_reading_sensor_expire, timer_reading_sensor_stop);

    k_timer_start(&timer_reading_sensor, K_MSEC(MEASUREMENT_INTERVAL), K_MSEC(MEASUREMENT_INTERVAL));
}
```

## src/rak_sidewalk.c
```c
#include "rak_sidewalk.h"
#include <zephyr/kernel.h>
#include <zephyr/drivers/sensor.h>
#include <zephyr/drivers/gpio.h>

#include <zephyr/logging/log.h>
LOG_MODULE_REGISTER(rak_sidewalk, CONFIG_SIDEWALK_LOG_LEVEL);

sidewalk_payload_t rak_sidewalk_get_payload(void)
{
    const struct device *dev = DEVICE_DT_GET_ONE(rak1901);
    struct sensor_value temp_sensor_value, humidity_sensor_value;
    float temp=0.0f, hum=0.0f;
    sidewalk_payload_t payload={0};
    if (!device_is_ready (dev)) {
        LOG_ERR("sensor: device not ready");
        return payload;
    }
    sensor_sample_fetch (dev);

    sensor_channel_get (dev, SENSOR_CHAN_AMBIENT_TEMP, &temp_sensor_value);
    sensor_channel_get(dev, SENSOR_CHAN_HUMIDITY, &humidity_sensor_value);

    temp = (float) sensor_value_to_double(&temp_sensor_value);
    hum = (float) sensor_value_to_double (&humidity_sensor_value);
    payload.payload_type = 0x01;
    payload.temp = temp;
    payload.hum = hum;
    return payload;
}
```

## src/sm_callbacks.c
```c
/*
 * Copyright (c) 2023 Nordic Semiconductor ASA
 *
 * SPDX-License-Identifier: LicenseRef-Nordic-5-Clause
 */

#include <sm_callbacks.h>
#include <sm_task.h>
#include <sm_utils.h>
#include <sm_timers.h>
#include <sid_hal_reset_ifc.h>

#include <zephyr/logging/log.h>
LOG_MODULE_REGISTER(sm_callbacks, CONFIG_SIDEWALK_LOG_LEVEL);

static const uint8_t *status_name[] = { "ready", "not ready", "Error", "secure channel ready" };

static const uint8_t *link_mode_name[] = {
	"none", [SID_LINK_MODE_CLOUD] = "cloud", [SID_LINK_MODE_MOBILE] = "mobile"
};

static const uint8_t *link_mode_idx_name[] = { "ble", "fsk", "lora" };

static void cb_sid_event(bool in_isr, void *context)
{
	LOG_DBG("Event from %s, context %p", in_isr ? "ISR" : "App", context);
	sm_main_task_msg_q_write(EVENT_TYPE_SIDEWALK);
}

static void cb_sid_msg_received(const struct sid_msg_desc *msg_desc, const struct sid_msg *msg,
				void *context)
{
	LOG_INF("Received message(type: %d, link_mode: %d, id: %u size %u rssi %d snr %d)",
		(int)msg_desc->type, (int)msg_desc->link_mode, msg_desc->id, msg->size,
		(int)msg_desc->msg_desc_attr.rx_attr.rssi,
		(int)msg_desc->msg_desc_attr.rx_attr.snr);
	LOG_HEXDUMP_INF((uint8_t *)msg->data, msg->size, "Message data: ");

	if (msg_desc->type == SID_MSG_TYPE_RESPONSE && msg_desc->msg_desc_attr.rx_attr.is_msg_ack) {
		LOG_INF("Received Ack for msg id %d", msg_desc->id);
	} else {
		struct app_demo_rx_msg rx_msg = {
			.msg_id = msg_desc->id,
			.pld_size = msg->size,
		};
		memcpy(rx_msg.rx_payload, msg->data, MIN(msg->size, PAYLOAD_MAX_SIZE));
		sm_rx_task_msg_q_write(&rx_msg);
	}

}

static void cb_sid_msg_sent(const struct sid_msg_desc *msg_desc, void *context)
{
	LOG_INF("Sent message(type: %d, id: %u)", (int)msg_desc->type, msg_desc->id);
}

static void cb_sid_send_error(sid_error_t error, const struct sid_msg_desc *msg_desc, void *context)
{
	LOG_ERR("Failed to send message(type: %d, id: %u), err:%d", (int)msg_desc->type,
		msg_desc->id, (int)error);
}

static void cd_sid_status_changed(const struct sid_status *status, void *context)
{
	LOG_INF("Status changed: %s", status_name[status->state]);

	app_context_t *app_context = (app_context_t *)context;

	switch (status->state) {
	case SID_STATE_READY:
		app_context->sidewalk_state = STATE_SIDEWALK_READY;
		break;
	case SID_STATE_NOT_READY:
		app_context->sidewalk_state = STATE_SIDEWALK_NOT_READY;
		break;
	case SID_STATE_ERROR:
		LOG_ERR("Sidewalk error: %d", (int)sid_get_error(app_context->sidewalk_handle));
		break;
	case SID_STATE_SECURE_CHANNEL_READY:
		app_context->sidewalk_state = STATE_SIDEWALK_SECURE_CONNECTION;
		break;
	}

	LOG_INF("Device %sregistered, Time Sync %s, Link Status Mask = %x",
		(status->detail.registration_status == SID_STATUS_REGISTERED) ? "Is " : "Un",
		(status->detail.time_sync_status == SID_STATUS_TIME_SYNCED) ? "Success" : "Fail",
		status->detail.link_status_mask);

	app_context->link_status.link_mask = status->detail.link_status_mask;
	app_context->link_status.time_sync_status = status->detail.time_sync_status;

	for (int i = 0; i < SID_LINK_TYPE_MAX_IDX; i++) {
		enum sid_link_mode mode =
			(enum sid_link_mode)status->detail.supported_link_modes[i];
		app_context->link_status.supported_link_mode[i] = mode;

		if ((mode == SID_LINK_MODE_CLOUD) || (mode == SID_LINK_MODE_MOBILE)) {
			LOG_INF("Link mode %s, on %s", link_mode_name[mode], link_mode_idx_name[i]);
		}
	}

	if (app_context->app_state == DEMO_APP_STATE_INIT &&
	    status->detail.registration_status == SID_STATUS_REGISTERED) {
		app_context->app_state = DEMO_APP_STATE_REGISTERED;
	}

	if (app_context->sidewalk_state == STATE_SIDEWALK_READY) {
		k_timeout_t delay = K_MSEC(CONFIG_SM_TIMER_DEMO_CAPABILITY_PERIOD_MS);

		if (app_context->app_state == DEMO_APP_STATE_REGISTERED) {
		 	app_context->app_state = DEMO_APP_STATE_NOTIFY_CAPABILITY;
		} else if (app_context->app_state == DEMO_APP_STATE_NOTIFY_SENSOR_DATA) {
			delay = K_MSEC(CONFIG_SM_TIMER_DEMO_NOTIFY_SENSOR_DATA_PERIOD_MS);
		}
		sm_cap_timer_set_and_run(delay);
        sm_main_task_msg_q_write(EVENT_SET_DEVICE_PROFILE_LINK_TYPE_2);
	}

	if ((status->detail.registration_status == SID_STATUS_REGISTERED) &&
	    (status->detail.time_sync_status == SID_STATUS_TIME_SYNCED)) {
		if (BUILT_IN_LM == SID_LINK_TYPE_1 &&
		    !(status->detail.link_status_mask & SID_LINK_TYPE_1)) {
			sm_cap_timer_set_and_run(
				K_MSEC(CONFIG_SM_TIMER_CONNECT_LINK_TYPE_1_INIT_DELAY_MS));
		}

		if (BUILT_IN_LM == SID_LINK_TYPE_2 &&
		    status->detail.link_status_mask & SID_LINK_TYPE_2) {
			sm_device_profile_timer_set_and_run(
				K_MSEC(CONFIG_SM_TIMER_PROFILE_CHECK_TIMER_DELAY_MS));
		}
	}
}

static void cb_sid_factory_reset(void *context)
{
	ARG_UNUSED(context);

	LOG_DBG("Factory reset notification received from sid api");
	if (sid_hal_reset(SID_HAL_RESET_NORMAL)) {
		LOG_WRN("Reboot type not supported");
	}
}

sid_error_t sm_callbacks_set(void *ctx, struct sid_event_callbacks *cb)
{
	if (!cb || !ctx) {
		return SID_ERROR_NULL_POINTER;
	}

	cb->context = (app_context_t *)ctx;
	cb->on_event = cb_sid_event; /* Called from ISR context */
	cb->on_msg_received = cb_sid_msg_received; /* Called from sid_process() */
	cb->on_msg_sent = cb_sid_msg_sent; /* Called from sid_process() */
	cb->on_send_error = cb_sid_send_error; /* Called from sid_process() */
	cb->on_status_changed = cd_sid_status_changed; /* Called from sid_process() */
	cb->on_factory_reset = cb_sid_factory_reset; /* Called from sid_process() */

	return SID_ERROR_NONE;
}
```
